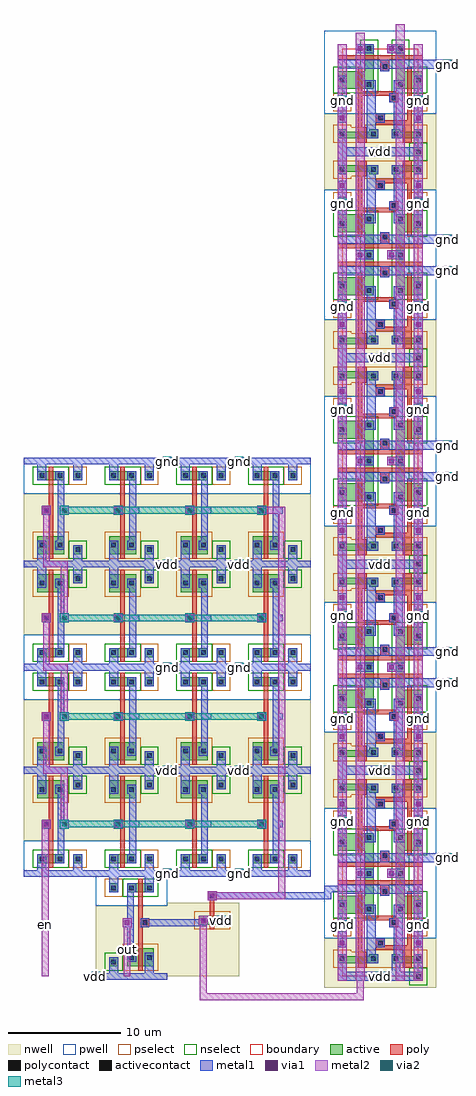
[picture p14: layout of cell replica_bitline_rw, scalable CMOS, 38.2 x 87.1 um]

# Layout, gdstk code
from math import pi, radians
import gdstk
lib = gdstk.Library(unit=1e-6, precision=1e-09)
def R(c, l, rs):  # rectangles x0, y0, x1, y1
    for r in rs: c.add(gdstk.rectangle(r[:2], r[2:], *l))
def A(c, l, x, y, w, h, nx, ny, dx, dy):  # array of equal rectangles
    R(c, l, [(x+i*dx, y+j*dy, x+i*dx+w, y+j*dy+h) for i in range(nx) for j in range(ny)])
pwell = (41, 0)
nwell = (42, 0)
active = (43, 0)
pselect = (44, 0)
nselect = (45, 0)
poly = (46, 0)
polycontact = (47, 0)
activecontact = (48, 0)
metal1 = (49, 0)
via1 = (50, 0)
metal2 = (51, 0)
via2 = (61, 0)
metal3 = (62, 0)
boundary = (63, 0)

active_contact_metal1_1x = lib.new_cell('active_contact_metal1_1x1_pn')
R(active_contact_metal1_1x, nwell, [(-1.2,-1.2,2,2)])
R(active_contact_metal1_1x, active, [(0,0,0.8,0.8)])
R(active_contact_metal1_1x, pselect, [(-0.4,-0.4,1.2,1.2)])
R(active_contact_metal1_1x, activecontact, [(0.2,0.2,0.6,0.6)])
R(active_contact_metal1_1x, metal1, [(0,0,0.8,0.8)])

pmos_m1_w1_6_a_p = lib.new_cell('pmos_m1_w1_6_a_p')
R(pmos_m1_w1_6_a_p, nwell, [(-1.2,-1.2,3.6,2.8)])
R(pmos_m1_w1_6_a_p, active, [(0,0,2.4,1.6)])
R(pmos_m1_w1_6_a_p, pselect, [(-0.4,-0.4,2.8,2)])
R(pmos_m1_w1_6_a_p, poly, [(1,-0.4,1.4,2), (1,-0.4,1.4,2)])
R(pmos_m1_w1_6_a_p, metal1, [(0,0.4,0.8,1.2), (1.6,0.4,2.4,1.2)])
pmos_m1_w1_6_a_p.add(gdstk.Reference(active_contact_metal1_1x, (0,0.4)))
pmos_m1_w1_6_a_p.add(gdstk.Reference(active_contact_metal1_1x, (1.6,0.4)))
pmos_m1_w1_6_a_p.add(gdstk.Label('G', (1.2,0.8), layer=46, texttype=0))
pmos_m1_w1_6_a_p.add(gdstk.Label('S', (0.4,0.8), layer=49, texttype=0))
pmos_m1_w1_6_a_p.add(gdstk.Label('D', (2,0.8), layer=49, texttype=0))

c_active_contact_metal1_1x = lib.new_cell('active_contact_metal1_1x1_np')
R(c_active_contact_metal1_1x, pwell, [(-1.2,-1.2,2,2)])
R(c_active_contact_metal1_1x, active, [(0,0,0.8,0.8)])
R(c_active_contact_metal1_1x, nselect, [(-0.4,-0.4,1.2,1.2)])
R(c_active_contact_metal1_1x, activecontact, [(0.2,0.2,0.6,0.6)])
R(c_active_contact_metal1_1x, metal1, [(0,0,0.8,0.8)])

nmos_m1_w0_8_a_p = lib.new_cell('nmos_m1_w0_8_a_p')
R(nmos_m1_w0_8_a_p, pwell, [(-1.2,-1.2,3.6,2)])
R(nmos_m1_w0_8_a_p, active, [(0,0,2.4,0.8)])
R(nmos_m1_w0_8_a_p, nselect, [(-0.4,-0.4,2.8,1.2)])
R(nmos_m1_w0_8_a_p, poly, [(1,-0.4,1.4,1.2), (1,-0.4,1.4,1.2)])
R(nmos_m1_w0_8_a_p, metal1, [(0,0,0.8,0.8), (1.6,0,2.4,0.8)])
nmos_m1_w0_8_a_p.add(gdstk.Reference(c_active_contact_metal1_1x, (0,0)))
nmos_m1_w0_8_a_p.add(gdstk.Reference(c_active_contact_metal1_1x, (1.6,0)))
nmos_m1_w0_8_a_p.add(gdstk.Label('G', (1.2,0.4), layer=46, texttype=0))
nmos_m1_w0_8_a_p.add(gdstk.Label('S', (0.4,0.4), layer=49, texttype=0))
nmos_m1_w0_8_a_p.add(gdstk.Label('D', (2,0.4), layer=49, texttype=0))

c_active_contact_metal1_1x_ = lib.new_cell('active_contact_metal1_1x1_nn')
R(c_active_contact_metal1_1x_, nwell, [(-1.2,-1.2,2,2)])
R(c_active_contact_metal1_1x_, active, [(0,0,0.8,0.8)])
R(c_active_contact_metal1_1x_, nselect, [(-0.4,-0.4,1.2,1.2)])
R(c_active_contact_metal1_1x_, activecontact, [(0.2,0.2,0.6,0.6)])
R(c_active_contact_metal1_1x_, metal1, [(0,0,0.8,0.8)])

c_active_contact_metal1_1x__ = lib.new_cell('active_contact_metal1_1x1_pp')
R(c_active_contact_metal1_1x__, pwell, [(-1.2,-1.2,2,2)])
R(c_active_contact_metal1_1x__, active, [(0,0,0.8,0.8)])
R(c_active_contact_metal1_1x__, pselect, [(-0.4,-0.4,1.2,1.2)])
R(c_active_contact_metal1_1x__, activecontact, [(0.2,0.2,0.6,0.6)])
R(c_active_contact_metal1_1x__, metal1, [(0,0,0.8,0.8)])

poly_contact_metal1_1x1 = lib.new_cell('poly_contact_metal1_1x1')
R(poly_contact_metal1_1x1, poly, [(0,0,0.8,0.8)])
R(poly_contact_metal1_1x1, polycontact, [(0.2,0.2,0.6,0.6)])
R(poly_contact_metal1_1x1, metal1, [(0,0,0.8,0.8)])

pinv_21 = lib.new_cell('pinv_21')
R(pinv_21, pwell, [(0,-0.3,6.4,2.9)])
R(pinv_21, nwell, [(0,2.9,6.4,9.5)])
R(pinv_21, poly, [(2.2,0.5,2.6,6.3), (2,4,2.2,4.8)])
R(pinv_21, metal1, [(0,-0.3,6.4,0.3), (1.2,-0.3,2,0.9), (4.4,0,5.2,1.3), (3,0.9,3.6,7.1), (1.6,4,2.4,4.8), (3.3,4.1,3.9,4.7), (1.2,7.1,2,9.5), (4.4,7.9,5.2,9.2), (0,8.9,6.4,9.5)])
pinv_21.add(gdstk.Reference(pmos_m1_w1_6_a_p, (1.2,6.7)))
pinv_21.add(gdstk.Reference(nmos_m1_w0_8_a_p, (1.2,0.9)))
pinv_21.add(gdstk.Reference(c_active_contact_metal1_1x_, (4.4,7.5)))
pinv_21.add(gdstk.Reference(c_active_contact_metal1_1x__, (4.4,0.9)))
pinv_21.add(gdstk.Reference(poly_contact_metal1_1x1, (1.6,4)))
pinv_21.add(gdstk.Label('gnd', (3.2,0), layer=49, texttype=0))
pinv_21.add(gdstk.Label('vdd', (3.2,9.2), layer=49, texttype=0))
pinv_21.add(gdstk.Label('A', (2,4.4), layer=49, texttype=0))
pinv_21.add(gdstk.Label('Z', (3.6,4.4), layer=49, texttype=0))

pmos_m1_w0_8 = lib.new_cell('pmos_m1_w0_8')
R(pmos_m1_w0_8, nwell, [(-1.2,-1.2,3.6,2)])
R(pmos_m1_w0_8, active, [(0,0,2.4,0.8)])
R(pmos_m1_w0_8, pselect, [(-0.4,-0.4,2.8,1.2)])
R(pmos_m1_w0_8, poly, [(1,-0.4,1.4,1.2), (1,-0.4,1.4,1.2)])
R(pmos_m1_w0_8, metal1, [(0,0,0.8,0.8), (1.6,0,2.4,0.8)])
pmos_m1_w0_8.add(gdstk.Reference(active_contact_metal1_1x, (0,0)))
pmos_m1_w0_8.add(gdstk.Reference(active_contact_metal1_1x, (1.6,0)))
pmos_m1_w0_8.add(gdstk.Label('G', (1.2,0.4), layer=46, texttype=0))
pmos_m1_w0_8.add(gdstk.Label('S', (0.4,0.4), layer=49, texttype=0))
pmos_m1_w0_8.add(gdstk.Label('D', (2,0.4), layer=49, texttype=0))

pinv_20 = lib.new_cell('pinv_20')
R(pinv_20, pwell, [(0,-0.3,6.4,2.9)])
R(pinv_20, nwell, [(0,2.9,6.4,9.5)])
R(pinv_20, poly, [(2.2,0.5,2.6,6.3), (2,4,2.2,4.8)])
R(pinv_20, metal1, [(0,-0.3,6.4,0.3), (1.2,-0.3,2,0.9), (4.4,0,5.2,1.3), (3,0.9,3.6,7.1), (1.6,4,2.4,4.8), (3.3,4.1,3.9,4.7), (1.2,7.1,2,9.5), (4.4,7.9,5.2,9.2), (0,8.9,6.4,9.5)])
pinv_20.add(gdstk.Reference(pmos_m1_w1_6_a_p, (1.2,6.7)))
pinv_20.add(gdstk.Reference(nmos_m1_w0_8_a_p, (1.2,0.9)))
pinv_20.add(gdstk.Reference(c_active_contact_metal1_1x_, (4.4,7.5)))
pinv_20.add(gdstk.Reference(c_active_contact_metal1_1x__, (4.4,0.9)))
pinv_20.add(gdstk.Reference(poly_contact_metal1_1x1, (1.6,4)))
pinv_20.add(gdstk.Label('gnd', (3.2,0), layer=49, texttype=0))
pinv_20.add(gdstk.Label('vdd', (3.2,9.2), layer=49, texttype=0))
pinv_20.add(gdstk.Label('A', (2,4.4), layer=49, texttype=0))
pinv_20.add(gdstk.Label('Z', (3.6,4.4), layer=49, texttype=0))

metal1_via1_metal2_1x1 = lib.new_cell('metal1_via1_metal2_1x1')
R(metal1_via1_metal2_1x1, metal1, [(0,0,0.8,0.8)])
R(metal1_via1_metal2_1x1, via1, [(0.2,0.2,0.6,0.6)])
R(metal1_via1_metal2_1x1, metal2, [(0,0,0.8,0.8)])

metal2_via2_metal3_1x1 = lib.new_cell('metal2_via2_metal3_1x1')
R(metal2_via2_metal3_1x1, metal2, [(0,0,0.8,0.8)])
R(metal2_via2_metal3_1x1, via2, [(0.2,0.2,0.6,0.6)])
R(metal2_via2_metal3_1x1, metal3, [(0,0,0.8,0.8)])

delay_chain_1 = lib.new_cell('delay_chain_1')
A(delay_chain_1, metal2, 1.7, 8.9, 0.6, 0.6, 1, 3, 0, 9.2)
A(delay_chain_1, metal2, 2, 8.9, 1.6, 0.6, 1, 3, 0, 9.2)
A(delay_chain_1, metal2, 3.3, 8.9, 0.6, 0.6, 1, 3, 0, 9.2)
R(delay_chain_1, metal2, [(1.6,0,2.2,4.4), (22.7,0,23.3,32.4), (22.7,0,23.3,32.4), (3.3,4.4,3.9,9.2), (1.7,9.2,2.3,14), (3.3,14,3.9,18.4), (1.7,18.4,2.3,22.8), (3.3,22.8,3.9,27.6), (1.7,27.6,2.3,32.4), (21.2,32.1,23,32.7), (22.7,32.1,23.3,32.7)])
A(delay_chain_1, metal3, 12.4, -0.4, 0.8, 0.8, 1, 5, 0, 9.2)
A(delay_chain_1, metal3, 18.8, -0.4, 0.8, 0.8, 1, 5, 0, 9.2)
R(delay_chain_1, metal3, [(3.6,4.1,21.2,4.7), (3.6,13.7,21.2,14.3), (3.6,22.5,21.2,23.1), (3.6,32.1,21.2,32.7)])
delay_chain_1.add(gdstk.Reference(pinv_20, (0,0)))
delay_chain_1.add(gdstk.Reference(pinv_20, (6.4,0)))
delay_chain_1.add(gdstk.Reference(pinv_20, (12.8,0)))
delay_chain_1.add(gdstk.Reference(pinv_20, (19.2,0)))
delay_chain_1.add(gdstk.Reference(pinv_20, (0,18.4), x_reflection=True))
delay_chain_1.add(gdstk.Reference(pinv_20, (6.4,18.4), x_reflection=True))
delay_chain_1.add(gdstk.Reference(pinv_20, (12.8,18.4), x_reflection=True))
delay_chain_1.add(gdstk.Reference(pinv_20, (19.2,18.4), x_reflection=True))
delay_chain_1.add(gdstk.Reference(pinv_20, (0,18.4)))
delay_chain_1.add(gdstk.Reference(pinv_20, (6.4,18.4)))
delay_chain_1.add(gdstk.Reference(pinv_20, (12.8,18.4)))
delay_chain_1.add(gdstk.Reference(pinv_20, (19.2,18.4)))
delay_chain_1.add(gdstk.Reference(pinv_20, (0,36.8), x_reflection=True))
delay_chain_1.add(gdstk.Reference(pinv_20, (6.4,36.8), x_reflection=True))
delay_chain_1.add(gdstk.Reference(pinv_20, (12.8,36.8), x_reflection=True))
delay_chain_1.add(gdstk.Reference(pinv_20, (19.2,36.8), x_reflection=True))
delay_chain_1.add(gdstk.Reference(metal1_via1_metal2_1x1, (8,4)))
delay_chain_1.add(gdstk.Reference(metal2_via2_metal3_1x1, (8,4)))
delay_chain_1.add(gdstk.Reference(metal1_via1_metal2_1x1, (14.4,4)))
delay_chain_1.add(gdstk.Reference(metal2_via2_metal3_1x1, (14.4,4)))
delay_chain_1.add(gdstk.Reference(metal1_via1_metal2_1x1, (20.8,4)))
delay_chain_1.add(gdstk.Reference(metal2_via2_metal3_1x1, (20.8,4)))
delay_chain_1.add(gdstk.Reference(metal1_via1_metal2_1x1, (1.6,4)))
delay_chain_1.add(gdstk.Reference(metal1_via1_metal2_1x1, (3.2,4)))
delay_chain_1.add(gdstk.Reference(metal2_via2_metal3_1x1, (3.2,4)))
delay_chain_1.add(gdstk.Reference(metal1_via1_metal2_1x1, (8,13.6)))
delay_chain_1.add(gdstk.Reference(metal2_via2_metal3_1x1, (8,13.6)))
delay_chain_1.add(gdstk.Reference(metal1_via1_metal2_1x1, (14.4,13.6)))
delay_chain_1.add(gdstk.Reference(metal2_via2_metal3_1x1, (14.4,13.6)))
delay_chain_1.add(gdstk.Reference(metal1_via1_metal2_1x1, (20.8,13.6)))
delay_chain_1.add(gdstk.Reference(metal2_via2_metal3_1x1, (20.8,13.6)))
delay_chain_1.add(gdstk.Reference(metal1_via1_metal2_1x1, (1.6,13.6)))
delay_chain_1.add(gdstk.Reference(metal1_via1_metal2_1x1, (3.2,13.6)))
delay_chain_1.add(gdstk.Reference(metal2_via2_metal3_1x1, (3.2,13.6)))
delay_chain_1.add(gdstk.Reference(metal1_via1_metal2_1x1, (8,22.4)))
delay_chain_1.add(gdstk.Reference(metal2_via2_metal3_1x1, (8,22.4)))
delay_chain_1.add(gdstk.Reference(metal1_via1_metal2_1x1, (14.4,22.4)))
delay_chain_1.add(gdstk.Reference(metal2_via2_metal3_1x1, (14.4,22.4)))
delay_chain_1.add(gdstk.Reference(metal1_via1_metal2_1x1, (20.8,22.4)))
delay_chain_1.add(gdstk.Reference(metal2_via2_metal3_1x1, (20.8,22.4)))
delay_chain_1.add(gdstk.Reference(metal1_via1_metal2_1x1, (1.6,22.4)))
delay_chain_1.add(gdstk.Reference(metal1_via1_metal2_1x1, (3.2,22.4)))
delay_chain_1.add(gdstk.Reference(metal2_via2_metal3_1x1, (3.2,22.4)))
delay_chain_1.add(gdstk.Reference(metal1_via1_metal2_1x1, (8,32)))
delay_chain_1.add(gdstk.Reference(metal2_via2_metal3_1x1, (8,32)))
delay_chain_1.add(gdstk.Reference(metal1_via1_metal2_1x1, (14.4,32)))
delay_chain_1.add(gdstk.Reference(metal2_via2_metal3_1x1, (14.4,32)))
delay_chain_1.add(gdstk.Reference(metal1_via1_metal2_1x1, (20.8,32)))
delay_chain_1.add(gdstk.Reference(metal2_via2_metal3_1x1, (20.8,32)))
delay_chain_1.add(gdstk.Reference(metal1_via1_metal2_1x1, (1.6,32)))
delay_chain_1.add(gdstk.Reference(metal1_via1_metal2_1x1, (3.2,32)))
delay_chain_1.add(gdstk.Reference(metal2_via2_metal3_1x1, (3.2,32)))
delay_chain_1.add(gdstk.Reference(metal1_via1_metal2_1x1, (13.2,8.8), rotation=pi/2))
delay_chain_1.add(gdstk.Reference(metal2_via2_metal3_1x1, (13.2,8.8), rotation=pi/2))
delay_chain_1.add(gdstk.Reference(metal1_via1_metal2_1x1, (13.2,-0.4), rotation=pi/2))
delay_chain_1.add(gdstk.Reference(metal2_via2_metal3_1x1, (13.2,-0.4), rotation=pi/2))
delay_chain_1.add(gdstk.Reference(metal1_via1_metal2_1x1, (19.6,8.8), rotation=pi/2))
delay_chain_1.add(gdstk.Reference(metal2_via2_metal3_1x1, (19.6,8.8), rotation=pi/2))
delay_chain_1.add(gdstk.Reference(metal1_via1_metal2_1x1, (19.6,-0.4), rotation=pi/2))
delay_chain_1.add(gdstk.Reference(metal2_via2_metal3_1x1, (19.6,-0.4), rotation=pi/2))
delay_chain_1.add(gdstk.Reference(metal1_via1_metal2_1x1, (13.2,27.2), rotation=pi/2))
delay_chain_1.add(gdstk.Reference(metal2_via2_metal3_1x1, (13.2,27.2), rotation=pi/2))
delay_chain_1.add(gdstk.Reference(metal1_via1_metal2_1x1, (13.2,18), rotation=pi/2))
delay_chain_1.add(gdstk.Reference(metal2_via2_metal3_1x1, (13.2,18), rotation=pi/2))
delay_chain_1.add(gdstk.Reference(metal1_via1_metal2_1x1, (19.6,27.2), rotation=pi/2))
delay_chain_1.add(gdstk.Reference(metal2_via2_metal3_1x1, (19.6,27.2), rotation=pi/2))
delay_chain_1.add(gdstk.Reference(metal1_via1_metal2_1x1, (19.6,18), rotation=pi/2))
delay_chain_1.add(gdstk.Reference(metal2_via2_metal3_1x1, (19.6,18), rotation=pi/2))
delay_chain_1.add(gdstk.Reference(metal1_via1_metal2_1x1, (13.2,36.4), rotation=pi/2))
delay_chain_1.add(gdstk.Reference(metal2_via2_metal3_1x1, (13.2,36.4), rotation=pi/2))
delay_chain_1.add(gdstk.Reference(metal1_via1_metal2_1x1, (19.6,36.4), rotation=pi/2))
delay_chain_1.add(gdstk.Reference(metal2_via2_metal3_1x1, (19.6,36.4), rotation=pi/2))
delay_chain_1.add(gdstk.Reference(metal1_via1_metal2_1x1, (1.6,4)))
delay_chain_1.add(gdstk.Reference(metal1_via1_metal2_1x1, (20.8,32)))
delay_chain_1.add(gdstk.Label('vdd', (12.8,9.2), layer=62, texttype=0))
delay_chain_1.add(gdstk.Label('vdd', (19.2,9.2), layer=62, texttype=0))
delay_chain_1.add(gdstk.Label('vdd', (12.8,27.6), layer=62, texttype=0))
delay_chain_1.add(gdstk.Label('vdd', (19.2,27.6), layer=62, texttype=0))
delay_chain_1.add(gdstk.Label('gnd', (12.8,0), layer=62, texttype=0))
delay_chain_1.add(gdstk.Label('gnd', (19.2,0), layer=62, texttype=0))
delay_chain_1.add(gdstk.Label('gnd', (12.8,18.4), layer=62, texttype=0))
delay_chain_1.add(gdstk.Label('gnd', (19.2,18.4), layer=62, texttype=0))
delay_chain_1.add(gdstk.Label('gnd', (12.8,36.8), layer=62, texttype=0))
delay_chain_1.add(gdstk.Label('gnd', (19.2,36.8), layer=62, texttype=0))
delay_chain_1.add(gdstk.Label('in', (1.9,2.2), layer=51, texttype=0))
delay_chain_1.add(gdstk.Label('out', (23,16.2), layer=51, texttype=0))

replica_cell_6t = lib.new_cell('replica_cell_6t')
R(replica_cell_6t, pwell, [(-1.6,-1.6,8.4,5.8)])
R(replica_cell_6t, nwell, [(-1.6,5.8,8.4,10.2)])
A(replica_cell_6t, active, 2.4, 7.2, 0.8, 0.2, 3, 1, 2, 0)
R(replica_cell_6t, active, [(2,-0.4,2.8,2), (4.8,-0.4,5.6,2), (-0.4,2,2.8,3.6), (4.8,2,7.2,3.6), (-0.4,4.4,0.4,5.2), (6.4,4.4,7.2,5.2), (-0.4,7.2,0.4,7.4), (-0.4,7.4,3.2,8), (4.4,7.4,7.2,8), (6.4,8.8,7.2,9.6)])
R(replica_cell_6t, pselect, [(-0.8,4,0.8,5.6), (6,4,7.6,5.6), (-0.8,6.8,0.8,7), (2,6.8,7.6,7), (-0.8,7,7.6,8.4)])
R(replica_cell_6t, nselect, [(1.6,-0.8,3.2,1.6), (4.4,-0.8,6,1.6), (-0.8,1.6,3.2,4), (4.4,1.6,7.6,4), (6,8.4,7.6,10)])
R(replica_cell_6t, poly, [(-0.4,0.6,7.2,1), (3.4,1,4.2,2), (1.4,1.6,1.8,3.8), (5.8,1.6,6.2,6.4), (1.4,3.8,4.8,4), (1.4,4,5,4.2), (1.4,4.2,1.8,7), (4.2,4.2,5,4.8), (3,5.8,3.8,6.4), (3,6.4,6.2,6.8), (5.4,6.8,6.2,8.4), (1.4,7,2.2,8.4)])
R(replica_cell_6t, polycontact, [(3.6,1.4,4,1.8), (4.4,4.2,4.8,4.6), (3.2,6,3.6,6.4)])
A(replica_cell_6t, activecontact, 2.6, 7.4, 0.4, 0.4, 3, 1, 2, 0)
R(replica_cell_6t, activecontact, [(2.2,-0.2,2.6,0.2), (5,-0.2,5.4,0.2), (-0.2,2.6,0.2,3), (6.6,2.6,7,3), (2.2,3,2.6,3.4), (5,3,5.4,3.4), (-0.2,4.6,0.2,5), (6.6,4.6,7,5), (-0.2,7.4,0.2,7.8), (6.6,9,7,9.4)])
R(replica_cell_6t, metal1, [(1.2,-0.4,2.8,0.4), (4,-0.4,5.6,0.4), (-0.4,1,7.2,1.8), (-0.4,1,7.2,1.8), (3.4,1.8,4.2,2), (-0.4,2.4,0.4,6.6), (6.4,2.4,7.2,6.6), (2,2.8,3,3.6), (4.6,2.8,5.6,3.6), (2.2,3.6,3,5.8), (4.6,3.6,5.4,4), (4.2,4,5.4,4.8), (4.6,4.8,5.4,7.2), (2.2,5.8,3.8,6.6), (2.2,6.6,3,7.2), (-0.4,7.2,0.4,8.8), (2.2,7.2,3.2,8), (4.4,7.2,5.4,8), (6.4,7.2,7.2,8.8), (4.4,8,5.2,8.8), (-0.4,8.8,7.2,9.6)])
R(replica_cell_6t, via1, [(1.4,-0.2,1.8,0.2), (4.2,-0.2,4.6,0.2), (-0.2,6,0.2,6.4), (6.6,6,7,6.4), (3.2,9,3.6,9.4)])
R(replica_cell_6t, metal2, [(-0.4,-0.4,0.4,9.6), (-0.4,-0.4,0.4,9.6), (1.2,-0.4,2,9.6), (1.2,-0.4,2,9.6), (4,-0.4,5.6,0.4), (6.4,-0.4,7.2,9.6), (6.4,-0.4,7.2,9.6), (4.8,0.4,5.6,9.6), (4.8,0.4,5.6,9.6), (3,8.8,3.8,9.6), (3,8.8,3.8,9.6)])
R(replica_cell_6t, boundary, [(0,0,6.8,9.2)])
replica_cell_6t.add(gdstk.Label('gnd', (0,0), layer=51, texttype=0))
replica_cell_6t.add(gdstk.Label('gnd', (6.8,0), layer=51, texttype=0))
replica_cell_6t.add(gdstk.Label('vdd', (3.4,9.2), layer=51, texttype=0))
replica_cell_6t.add(gdstk.Label('bl', (1.6,8.6), layer=51, texttype=0))
replica_cell_6t.add(gdstk.Label('br', (5.2,8.6), layer=51, texttype=0))
replica_cell_6t.add(gdstk.Label('wl', (0.8,1.4), layer=49, texttype=0))
replica_cell_6t.add(gdstk.Label('bl', (1.6,4.6), layer=51, texttype=0))
replica_cell_6t.add(gdstk.Label('br', (5.2,5), layer=51, texttype=0))
replica_cell_6t.add(gdstk.Label('wl', (3.4,1.4), layer=49, texttype=0))
replica_cell_6t.add(gdstk.Label('vdd', (3.4,9.2), layer=51, texttype=0))
replica_cell_6t.add(gdstk.Label('gnd', (0,4.6), layer=51, texttype=0))
replica_cell_6t.add(gdstk.Label('gnd', (6.8,4.6), layer=51, texttype=0))

cell_6t = lib.new_cell('cell_6t')
R(cell_6t, pwell, [(-1.6,-1.6,8.4,5.8)])
R(cell_6t, nwell, [(-1.6,5.8,8.4,10.2)])
A(cell_6t, active, 2.4, 7.2, 0.8, 0.2, 3, 1, 2, 0)
R(cell_6t, active, [(2,-0.4,2.8,2), (4.8,-0.4,5.6,2), (-0.4,2,2.8,3.6), (4.8,2,7.2,3.6), (-0.4,4.4,0.4,5.2), (6.4,4.4,7.2,5.2), (-0.4,7.2,0.4,7.4), (-0.4,7.4,3.2,8), (4.4,7.4,7.2,8), (6.4,8.8,7.2,9.6)])
R(cell_6t, pselect, [(-0.8,4,0.8,5.6), (6,4,7.6,5.6), (-0.8,6.8,0.8,7), (2,6.8,7.6,7), (-0.8,7,7.6,8.4)])
R(cell_6t, nselect, [(1.6,-0.8,3.2,1.6), (4.4,-0.8,6,1.6), (-0.8,1.6,3.2,4), (4.4,1.6,7.6,4), (6,8.4,7.6,10)])
R(cell_6t, poly, [(-0.4,0.6,7.2,1), (3.4,1,4.2,2), (1.4,1.6,1.8,3.8), (5.8,1.6,6.2,6.4), (1.4,3.8,4.8,4), (1.4,4,5,4.2), (1.4,4.2,1.8,7), (4.2,4.2,5,4.8), (3,5.8,3.8,6.4), (3,6.4,6.2,6.8), (5.4,6.8,6.2,8.4), (1.4,7,2.2,8.4)])
R(cell_6t, polycontact, [(3.6,1.4,4,1.8), (4.4,4.2,4.8,4.6), (3.2,6,3.6,6.4)])
A(cell_6t, activecontact, 2.6, 7.4, 0.4, 0.4, 3, 1, 2, 0)
R(cell_6t, activecontact, [(2.2,-0.2,2.6,0.2), (5,-0.2,5.4,0.2), (-0.2,2.6,0.2,3), (6.6,2.6,7,3), (2.2,3,2.6,3.4), (5,3,5.4,3.4), (-0.2,4.6,0.2,5), (6.6,4.6,7,5), (-0.2,7.4,0.2,7.8), (6.6,9,7,9.4)])
R(cell_6t, metal1, [(1.2,-0.4,2.8,0.4), (4,-0.4,5.6,0.4), (-0.4,1,7.2,1.8), (-0.4,1,7.2,1.8), (3.4,1.8,4.2,2), (-0.4,2.4,0.4,6.6), (6.4,2.4,7.2,6.6), (2,2.8,3,3.6), (4.6,2.8,5.6,3.6), (2.2,3.6,3,5.8), (4.6,3.6,5.4,4), (4.2,4,5.4,4.8), (4.6,4.8,5.4,7.2), (2.2,5.8,3.8,6.6), (2.2,6.6,3,7.2), (-0.4,7.2,0.4,8.8), (2.2,7.2,3.2,8), (4.4,7.2,5.4,8), (6.4,7.2,7.2,8.8), (-0.4,8.8,7.2,9.6)])
R(cell_6t, via1, [(1.4,-0.2,1.8,0.2), (4.2,-0.2,4.6,0.2), (-0.2,6,0.2,6.4), (6.6,6,7,6.4), (3.2,9,3.6,9.4)])
R(cell_6t, metal2, [(-0.4,-0.4,0.4,9.6), (-0.4,-0.4,0.4,9.6), (1.2,-0.4,2,9.6), (1.2,-0.4,2,9.6), (4,-0.4,5.6,0.4), (6.4,-0.4,7.2,9.6), (6.4,-0.4,7.2,9.6), (4.8,0.4,5.6,9.6), (4.8,0.4,5.6,9.6), (3,8.8,3.8,9.6), (3,8.8,3.8,9.6)])
R(cell_6t, boundary, [(0,0,6.8,9.2)])
cell_6t.add(gdstk.Label('gnd', (0,0), layer=51, texttype=0))
cell_6t.add(gdstk.Label('gnd', (6.8,0), layer=51, texttype=0))
cell_6t.add(gdstk.Label('vdd', (3.4,9.2), layer=51, texttype=0))
cell_6t.add(gdstk.Label('bl', (1.6,8.6), layer=51, texttype=0))
cell_6t.add(gdstk.Label('br', (5.2,8.6), layer=51, texttype=0))
cell_6t.add(gdstk.Label('wl', (0.8,1.4), layer=49, texttype=0))
cell_6t.add(gdstk.Label('bl', (1.6,4.6), layer=51, texttype=0))
cell_6t.add(gdstk.Label('br', (5.2,5), layer=51, texttype=0))
cell_6t.add(gdstk.Label('wl', (3.4,1.4), layer=49, texttype=0))
cell_6t.add(gdstk.Label('vdd', (3.4,9.2), layer=51, texttype=0))
cell_6t.add(gdstk.Label('gnd', (0,4.6), layer=51, texttype=0))
cell_6t.add(gdstk.Label('gnd', (6.8,4.6), layer=51, texttype=0))

bitcell_array_8x1_2 = lib.new_cell('bitcell_array_8x1_2')
R(bitcell_array_8x1_2, metal1, [(-0.4,1,7,1.8), (-0.4,16.6,7,17.4), (-0.4,19.4,7,20.2), (-0.4,35,7,35.8), (-0.4,37.8,7,38.6), (-0.4,53.4,7,54.2), (-0.4,56.2,7,57), (-0.4,71.8,7,72.6)])
R(bitcell_array_8x1_2, metal2, [(1.2,-0.4,2,75), (4.8,0.4,5.6,75.8)])
A(bitcell_array_8x1_2, metal3, -0.4, 4.2, 0.8, 0.8, 1, 8, 0, 9.2)
A(bitcell_array_8x1_2, metal3, 6.4, 4.2, 0.8, 0.8, 1, 8, 0, 9.2)
A(bitcell_array_8x1_2, metal3, 3, 8.8, 0.8, 0.8, 1, 4, 0, 18.4)
bitcell_array_8x1_2.add(gdstk.Reference(cell_6t, (0,0)))
bitcell_array_8x1_2.add(gdstk.Reference(cell_6t, (0,18.4), x_reflection=True))
bitcell_array_8x1_2.add(gdstk.Reference(cell_6t, (0,18.4)))
bitcell_array_8x1_2.add(gdstk.Reference(cell_6t, (0,36.8), x_reflection=True))
bitcell_array_8x1_2.add(gdstk.Reference(cell_6t, (0,36.8)))
bitcell_array_8x1_2.add(gdstk.Reference(cell_6t, (0,55.2), x_reflection=True))
bitcell_array_8x1_2.add(gdstk.Reference(cell_6t, (0,55.2)))
bitcell_array_8x1_2.add(gdstk.Reference(cell_6t, (0,73.6), x_reflection=True))
bitcell_array_8x1_2.add(gdstk.Reference(metal2_via2_metal3_1x1, (3,8.8)))
bitcell_array_8x1_2.add(gdstk.Reference(metal2_via2_metal3_1x1, (-0.4,4.2)))
bitcell_array_8x1_2.add(gdstk.Reference(metal2_via2_metal3_1x1, (6.4,4.2)))
bitcell_array_8x1_2.add(gdstk.Reference(metal2_via2_metal3_1x1, (3,8.8)))
bitcell_array_8x1_2.add(gdstk.Reference(metal2_via2_metal3_1x1, (-0.4,13.4)))
bitcell_array_8x1_2.add(gdstk.Reference(metal2_via2_metal3_1x1, (6.4,13.4)))
bitcell_array_8x1_2.add(gdstk.Reference(metal2_via2_metal3_1x1, (3,27.2)))
bitcell_array_8x1_2.add(gdstk.Reference(metal2_via2_metal3_1x1, (-0.4,22.6)))
bitcell_array_8x1_2.add(gdstk.Reference(metal2_via2_metal3_1x1, (6.4,22.6)))
bitcell_array_8x1_2.add(gdstk.Reference(metal2_via2_metal3_1x1, (3,27.2)))
bitcell_array_8x1_2.add(gdstk.Reference(metal2_via2_metal3_1x1, (-0.4,31.8)))
bitcell_array_8x1_2.add(gdstk.Reference(metal2_via2_metal3_1x1, (6.4,31.8)))
bitcell_array_8x1_2.add(gdstk.Reference(metal2_via2_metal3_1x1, (3,45.6)))
bitcell_array_8x1_2.add(gdstk.Reference(metal2_via2_metal3_1x1, (-0.4,41)))
bitcell_array_8x1_2.add(gdstk.Reference(metal2_via2_metal3_1x1, (6.4,41)))
bitcell_array_8x1_2.add(gdstk.Reference(metal2_via2_metal3_1x1, (3,45.6)))
bitcell_array_8x1_2.add(gdstk.Reference(metal2_via2_metal3_1x1, (-0.4,50.2)))
bitcell_array_8x1_2.add(gdstk.Reference(metal2_via2_metal3_1x1, (6.4,50.2)))
bitcell_array_8x1_2.add(gdstk.Reference(metal2_via2_metal3_1x1, (3,64)))
bitcell_array_8x1_2.add(gdstk.Reference(metal2_via2_metal3_1x1, (-0.4,59.4)))
bitcell_array_8x1_2.add(gdstk.Reference(metal2_via2_metal3_1x1, (6.4,59.4)))
bitcell_array_8x1_2.add(gdstk.Reference(metal2_via2_metal3_1x1, (3,64)))
bitcell_array_8x1_2.add(gdstk.Reference(metal2_via2_metal3_1x1, (-0.4,68.6)))
bitcell_array_8x1_2.add(gdstk.Reference(metal2_via2_metal3_1x1, (6.4,68.6)))
bitcell_array_8x1_2.add(gdstk.Label('bl_0', (1.6,37.3), layer=51, texttype=0))
bitcell_array_8x1_2.add(gdstk.Label('br_0', (5.2,38.1), layer=51, texttype=0))
bitcell_array_8x1_2.add(gdstk.Label('wl_0', (3.3,1.4), layer=49, texttype=0))
bitcell_array_8x1_2.add(gdstk.Label('wl_1', (3.3,17), layer=49, texttype=0))
bitcell_array_8x1_2.add(gdstk.Label('wl_2', (3.3,19.8), layer=49, texttype=0))
bitcell_array_8x1_2.add(gdstk.Label('wl_3', (3.3,35.4), layer=49, texttype=0))
bitcell_array_8x1_2.add(gdstk.Label('wl_4', (3.3,38.2), layer=49, texttype=0))
bitcell_array_8x1_2.add(gdstk.Label('wl_5', (3.3,53.8), layer=49, texttype=0))
bitcell_array_8x1_2.add(gdstk.Label('wl_6', (3.3,56.6), layer=49, texttype=0))
bitcell_array_8x1_2.add(gdstk.Label('wl_7', (3.3,72.2), layer=49, texttype=0))
bitcell_array_8x1_2.add(gdstk.Label('vdd', (3.4,9.2), layer=62, texttype=0))
bitcell_array_8x1_2.add(gdstk.Label('vdd', (3.4,27.6), layer=62, texttype=0))
bitcell_array_8x1_2.add(gdstk.Label('vdd', (3.4,46), layer=62, texttype=0))
bitcell_array_8x1_2.add(gdstk.Label('vdd', (3.4,64.4), layer=62, texttype=0))
bitcell_array_8x1_2.add(gdstk.Label('gnd', (0,4.6), layer=62, texttype=0))
bitcell_array_8x1_2.add(gdstk.Label('gnd', (6.8,4.6), layer=62, texttype=0))
bitcell_array_8x1_2.add(gdstk.Label('gnd', (0,13.8), layer=62, texttype=0))
bitcell_array_8x1_2.add(gdstk.Label('gnd', (6.8,13.8), layer=62, texttype=0))
bitcell_array_8x1_2.add(gdstk.Label('gnd', (0,23), layer=62, texttype=0))
bitcell_array_8x1_2.add(gdstk.Label('gnd', (6.8,23), layer=62, texttype=0))
bitcell_array_8x1_2.add(gdstk.Label('gnd', (0,32.2), layer=62, texttype=0))
bitcell_array_8x1_2.add(gdstk.Label('gnd', (6.8,32.2), layer=62, texttype=0))
bitcell_array_8x1_2.add(gdstk.Label('gnd', (0,41.4), layer=62, texttype=0))
bitcell_array_8x1_2.add(gdstk.Label('gnd', (6.8,41.4), layer=62, texttype=0))
bitcell_array_8x1_2.add(gdstk.Label('gnd', (0,50.6), layer=62, texttype=0))
bitcell_array_8x1_2.add(gdstk.Label('gnd', (6.8,50.6), layer=62, texttype=0))
bitcell_array_8x1_2.add(gdstk.Label('gnd', (0,59.8), layer=62, texttype=0))
bitcell_array_8x1_2.add(gdstk.Label('gnd', (6.8,59.8), layer=62, texttype=0))
bitcell_array_8x1_2.add(gdstk.Label('gnd', (0,69), layer=62, texttype=0))
bitcell_array_8x1_2.add(gdstk.Label('gnd', (6.8,69), layer=62, texttype=0))

replica_bitline_rw = lib.new_cell('replica_bitline_rw')
R(replica_bitline_rw, nwell, [(12.8,2.1,19.2,8.7)])
R(replica_bitline_rw, poly, [(16.6,7.9,17,9.3)])
A(replica_bitline_rw, metal1, 26.8, 9, 0.6, 0.6, 1, 3, 0, 0.3)
R(replica_bitline_rw, metal1, [(10.8,6.6,16,7.2), (15.7,6.6,16.3,7.2), (15.7,6.9,16.3,7.1), (16.8,9,27.1,9.6), (27.1,9.6,28,10.2), (35.4,12.3,37.8,13.1), (35.4,27.9,37.8,28.7), (35.4,30.7,37.8,31.5), (35.4,46.3,37.8,47.1), (35.4,49.1,37.8,49.9), (35.4,64.7,37.8,65.5), (35.4,67.5,37.8,68.3), (35.4,83.1,37.8,83.9)])
R(replica_bitline_rw, metal2, [(15.7,0,16.3,0.6), (16,0,30,0.6), (29.7,0,30.3,0.6), (15.7,0.3,16.3,7.1), (29.7,0.3,30.3,1.7), (1.6,2.1,2.2,11.3), (8.9,2.1,9.5,6.9), (16.8,9,23,9.6), (22.7,9,23.3,9.6), (22.7,9.3,23.3,11.3)])
A(replica_bitline_rw, metal3, 31.4, 1.7, 0.8, 0.8, 1, 5, 0, 18.4)
A(replica_bitline_rw, metal3, 28, 6.3, 0.8, 0.8, 1, 9, 0, 9.2)
A(replica_bitline_rw, metal3, 34.8, 6.3, 0.8, 0.8, 1, 9, 0, 9.2)
A(replica_bitline_rw, metal3, 12.4, 10.9, 0.8, 0.8, 1, 5, 0, 9.2)
A(replica_bitline_rw, metal3, 18.8, 10.9, 0.8, 0.8, 1, 5, 0, 9.2)
R(replica_bitline_rw, metal3, [(6,1.7,6.8,2.5), (17.2,6.7,18,7.5), (37.4,12.3,38.2,13.1), (37.4,27.9,38.2,28.7), (37.4,30.7,38.2,31.5), (37.4,46.3,38.2,47.1), (37.4,49.1,38.2,49.9), (37.4,64.7,38.2,65.5), (37.4,67.5,38.2,68.3), (37.4,83.1,38.2,83.9)])
replica_bitline_rw.add(gdstk.Reference(pinv_21, (12.8,11.3), rotation=pi))
replica_bitline_rw.add(gdstk.Reference(pmos_m1_w0_8, (15.6,6.7)))
replica_bitline_rw.add(gdstk.Reference(delay_chain_1, (0,11.3)))
replica_bitline_rw.add(gdstk.Reference(replica_cell_6t, (28.4,11.3), x_reflection=True))
replica_bitline_rw.add(gdstk.Reference(bitcell_array_8x1_2, (28.4,11.3)))
replica_bitline_rw.add(gdstk.Reference(metal1_via1_metal2_1x1, (6.8,1.7), rotation=pi/2))
replica_bitline_rw.add(gdstk.Reference(metal2_via2_metal3_1x1, (6.8,1.7), rotation=pi/2))
replica_bitline_rw.add(gdstk.Reference(metal2_via2_metal3_1x1, (31.4,1.7)))
replica_bitline_rw.add(gdstk.Reference(metal1_via1_metal2_1x1, (28.8,6.3), rotation=pi/2))
replica_bitline_rw.add(gdstk.Reference(metal2_via2_metal3_1x1, (28.8,6.3), rotation=pi/2))
replica_bitline_rw.add(gdstk.Reference(metal1_via1_metal2_1x1, (35.6,6.3), rotation=pi/2))
replica_bitline_rw.add(gdstk.Reference(metal2_via2_metal3_1x1, (35.6,6.3), rotation=pi/2))
replica_bitline_rw.add(gdstk.Reference(metal1_via1_metal2_1x1, (38.2,12.3), rotation=pi/2))
replica_bitline_rw.add(gdstk.Reference(metal2_via2_metal3_1x1, (38.2,12.3), rotation=pi/2))
replica_bitline_rw.add(gdstk.Reference(metal1_via1_metal2_1x1, (38.2,27.9), rotation=pi/2))
replica_bitline_rw.add(gdstk.Reference(metal2_via2_metal3_1x1, (38.2,27.9), rotation=pi/2))
replica_bitline_rw.add(gdstk.Reference(metal1_via1_metal2_1x1, (38.2,30.7), rotation=pi/2))
replica_bitline_rw.add(gdstk.Reference(metal2_via2_metal3_1x1, (38.2,30.7), rotation=pi/2))
replica_bitline_rw.add(gdstk.Reference(metal1_via1_metal2_1x1, (38.2,46.3), rotation=pi/2))
replica_bitline_rw.add(gdstk.Reference(metal2_via2_metal3_1x1, (38.2,46.3), rotation=pi/2))
replica_bitline_rw.add(gdstk.Reference(metal1_via1_metal2_1x1, (38.2,49.1), rotation=pi/2))
replica_bitline_rw.add(gdstk.Reference(metal2_via2_metal3_1x1, (38.2,49.1), rotation=pi/2))
replica_bitline_rw.add(gdstk.Reference(metal1_via1_metal2_1x1, (38.2,64.7), rotation=pi/2))
replica_bitline_rw.add(gdstk.Reference(metal2_via2_metal3_1x1, (38.2,64.7), rotation=pi/2))
replica_bitline_rw.add(gdstk.Reference(metal1_via1_metal2_1x1, (38.2,67.5), rotation=pi/2))
replica_bitline_rw.add(gdstk.Reference(metal2_via2_metal3_1x1, (38.2,67.5), rotation=pi/2))
replica_bitline_rw.add(gdstk.Reference(metal1_via1_metal2_1x1, (38.2,83.1), rotation=pi/2))
replica_bitline_rw.add(gdstk.Reference(metal2_via2_metal3_1x1, (38.2,83.1), rotation=pi/2))
replica_bitline_rw.add(gdstk.Reference(poly_contact_metal1_1x1, (16.4,8.9)))
replica_bitline_rw.add(gdstk.Reference(metal1_via1_metal2_1x1, (16.4,8.9)))
replica_bitline_rw.add(gdstk.Reference(metal1_via1_metal2_1x1, (17.2,6.7)))
replica_bitline_rw.add(gdstk.Reference(metal2_via2_metal3_1x1, (17.2,6.7)))
replica_bitline_rw.add(gdstk.Reference(metal1_via1_metal2_1x1, (15.6,6.7)))
replica_bitline_rw.add(gdstk.Reference(metal1_via1_metal2_1x1, (8.8,6.5)))
replica_bitline_rw.add(gdstk.Label('vdd', (31.8,20.5), layer=62, texttype=0))
replica_bitline_rw.add(gdstk.Label('vdd', (31.8,38.9), layer=62, texttype=0))
replica_bitline_rw.add(gdstk.Label('vdd', (31.8,57.3), layer=62, texttype=0))
replica_bitline_rw.add(gdstk.Label('vdd', (31.8,75.7), layer=62, texttype=0))
replica_bitline_rw.add(gdstk.Label('vdd', (12.8,20.5), layer=62, texttype=0))
replica_bitline_rw.add(gdstk.Label('vdd', (19.2,20.5), layer=62, texttype=0))
replica_bitline_rw.add(gdstk.Label('vdd', (12.8,38.9), layer=62, texttype=0))
replica_bitline_rw.add(gdstk.Label('vdd', (19.2,38.9), layer=62, texttype=0))
replica_bitline_rw.add(gdstk.Label('vdd', (6.4,2.1), layer=62, texttype=0))
replica_bitline_rw.add(gdstk.Label('vdd', (31.8,2.1), layer=62, texttype=0))
replica_bitline_rw.add(gdstk.Label('vdd', (17.6,7.1), layer=62, texttype=0))
replica_bitline_rw.add(gdstk.Label('gnd', (28.4,15.9), layer=62, texttype=0))
replica_bitline_rw.add(gdstk.Label('gnd', (35.2,15.9), layer=62, texttype=0))
replica_bitline_rw.add(gdstk.Label('gnd', (28.4,25.1), layer=62, texttype=0))
replica_bitline_rw.add(gdstk.Label('gnd', (35.2,25.1), layer=62, texttype=0))
replica_bitline_rw.add(gdstk.Label('gnd', (28.4,34.3), layer=62, texttype=0))
replica_bitline_rw.add(gdstk.Label('gnd', (35.2,34.3), layer=62, texttype=0))
replica_bitline_rw.add(gdstk.Label('gnd', (28.4,43.5), layer=62, texttype=0))
replica_bitline_rw.add(gdstk.Label('gnd', (35.2,43.5), layer=62, texttype=0))
replica_bitline_rw.add(gdstk.Label('gnd', (28.4,52.7), layer=62, texttype=0))
replica_bitline_rw.add(gdstk.Label('gnd', (35.2,52.7), layer=62, texttype=0))
replica_bitline_rw.add(gdstk.Label('gnd', (28.4,61.9), layer=62, texttype=0))
replica_bitline_rw.add(gdstk.Label('gnd', (35.2,61.9), layer=62, texttype=0))
replica_bitline_rw.add(gdstk.Label('gnd', (28.4,71.1), layer=62, texttype=0))
replica_bitline_rw.add(gdstk.Label('gnd', (35.2,71.1), layer=62, texttype=0))
replica_bitline_rw.add(gdstk.Label('gnd', (28.4,80.3), layer=62, texttype=0))
replica_bitline_rw.add(gdstk.Label('gnd', (35.2,80.3), layer=62, texttype=0))
replica_bitline_rw.add(gdstk.Label('gnd', (12.8,11.3), layer=62, texttype=0))
replica_bitline_rw.add(gdstk.Label('gnd', (19.2,11.3), layer=62, texttype=0))
replica_bitline_rw.add(gdstk.Label('gnd', (12.8,29.7), layer=62, texttype=0))
replica_bitline_rw.add(gdstk.Label('gnd', (19.2,29.7), layer=62, texttype=0))
replica_bitline_rw.add(gdstk.Label('gnd', (12.8,48.1), layer=62, texttype=0))
replica_bitline_rw.add(gdstk.Label('gnd', (19.2,48.1), layer=62, texttype=0))
replica_bitline_rw.add(gdstk.Label('gnd', (28.4,6.7), layer=62, texttype=0))
replica_bitline_rw.add(gdstk.Label('gnd', (35.2,6.7), layer=62, texttype=0))
replica_bitline_rw.add(gdstk.Label('gnd', (37.8,12.7), layer=62, texttype=0))
replica_bitline_rw.add(gdstk.Label('gnd', (37.8,28.3), layer=62, texttype=0))
replica_bitline_rw.add(gdstk.Label('gnd', (37.8,31.1), layer=62, texttype=0))
replica_bitline_rw.add(gdstk.Label('gnd', (37.8,46.7), layer=62, texttype=0))
replica_bitline_rw.add(gdstk.Label('gnd', (37.8,49.5), layer=62, texttype=0))
replica_bitline_rw.add(gdstk.Label('gnd', (37.8,65.1), layer=62, texttype=0))
replica_bitline_rw.add(gdstk.Label('gnd', (37.8,67.9), layer=62, texttype=0))
replica_bitline_rw.add(gdstk.Label('gnd', (37.8,83.5), layer=62, texttype=0))
replica_bitline_rw.add(gdstk.Label('en', (1.9,6.7), layer=51, texttype=0))
replica_bitline_rw.add(gdstk.Label('out', (9.2,4.5), layer=51, texttype=0))

lib.write_gds('replica_bitline_rw.gds')
